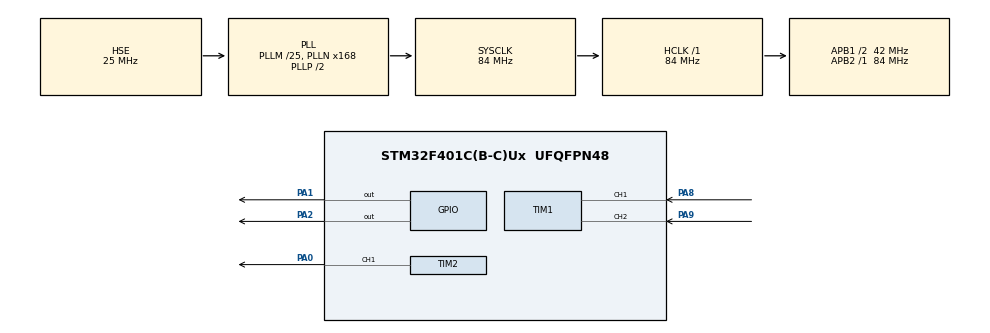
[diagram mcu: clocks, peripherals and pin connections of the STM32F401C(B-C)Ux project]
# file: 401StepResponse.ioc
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Mcu.Family=STM32F4
Mcu.Name=STM32F401C(B-C)Ux
Mcu.Package=UFQFPN48
NVIC.PriorityGroup=NVIC_PRIORITYGROUP_4
NVIC.TIM3_IRQn=true\:0\:0\:false\:false\:true\:true\:true\:true
PA0-WKUP.Signal=S_TIM2_CH1_ETR
PA1.PinState=GPIO_PIN_SET
PA1.Signal=GPIO_Output
PA13.Mode=Serial_Wire
PA13.Signal=SYS_JTMS-SWDIO
PA14.Mode=Serial_Wire
PA14.Signal=SYS_JTCK-SWCLK
PA2.Signal=GPIO_Output
PA8.Signal=S_TIM1_CH1
PA9.Signal=S_TIM1_CH2
PH0\ -\ OSC_IN.Mode=HSE-External-Oscillator
PH0\ -\ OSC_IN.Signal=RCC_OSC_IN
PH1\ -\ OSC_OUT.Mode=HSE-External-Oscillator
PH1\ -\ OSC_OUT.Signal=RCC_OSC_OUT
ProjectManager.HeapSize=0x200
ProjectManager.StackSize=0x400
ProjectManager.TargetToolchain=STM32CubeIDE
RCC.48MHZClocksFreq_Value=42000000
RCC.AHBFreq_Value=84000000
RCC.APB1CLKDivider=RCC_HCLK_DIV2
RCC.APB1Freq_Value=42000000
RCC.APB1TimFreq_Value=84000000
RCC.APB2Freq_Value=84000000
RCC.APB2TimFreq_Value=84000000
RCC.CortexFreq_Value=84000000
RCC.HCLKFreq_Value=84000000
RCC.HSE_VALUE=25000000
RCC.HSI_VALUE=16000000
RCC.LSE_VALUE=32768
RCC.PLLM=25
RCC.PLLN=168
RCC.PLLSourceVirtual=RCC_PLLSOURCE_HSE
RCC.SYSCLKFreq_VALUE=84000000
RCC.SYSCLKSource=RCC_SYSCLKSOURCE_PLLCLK
RCC.VCOOutputFreq_Value=168000000
SH.S_TIM1_CH1.0=TIM1_CH1,Encoder_Interface
SH.S_TIM1_CH2.0=TIM1_CH2,Encoder_Interface
SH.S_TIM2_CH1_ETR.0=TIM2_CH1,PWM Generation1 CH1
TIM2.Channel-PWM\ Generation1\ CH1=TIM_CHANNEL_1
TIM2.Period=1679999
TIM2.Prescaler=0
TIM3.AutoReloadPreload=TIM_AUTORELOAD_PRELOAD_ENABLE
TIM3.Period=840
TIM3.Prescaler=1000
VP_TIM2_VS_ClockSourceINT.Mode=Internal
VP_TIM3_VS_ClockSourceINT.Mode=Internal
board=custom

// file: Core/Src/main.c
/* USER CODE BEGIN Header */
/**
  ******************************************************************************
  * @file           : main.c
  * @brief          : Main program body
  ******************************************************************************
  * @attention
  *
  * Copyright (c) 2022 STMicroelectronics.
  * All rights reserved.
  *
  * This software is licensed under terms that can be found in the LICENSE file
  * in the root directory of this software component.
  * If no LICENSE file comes with this software, it is provided AS-IS.
  *
  ******************************************************************************
  */
/* USER CODE END Header */
#include "main.h"

 TIM_HandleTypeDef htim1;
TIM_HandleTypeDef htim2;
TIM_HandleTypeDef htim3;

void SystemClock_Config(void);
static void MX_GPIO_Init(void);
static void MX_TIM1_Init(void);
static void MX_TIM2_Init(void);
static void MX_TIM3_Init(void);

/* USER CODE BEGIN 0 */

// Position variables
int x;
int setpoint_x = 90;
int error_x;
int sum_error_x = 0;
int delta_x = 0;
int error_x_old = 0;
int Kp = 50;
int Ki = 1;
int Kd = 5;
int devider_x = 50;

// Velocity variables
int v;
int setpoint_v = 1000;
int error_v;
int sum_error_v = 0;
int delta_v = 0;
int error_v_old = 0;
int Kp_v = 0;
int Ki_v = 50;
int Kd_v = 50;
int devider_v = 50;
int x_old = 0;

// Common variables
int devider;
int auto_mode = 1;
int control_x = 1; // 1:control position 0: control speed
int controller_out;

/* USER CODE END 0 */

int main(void)
{

  /* MCU Configuration--------------------------------------------------------*/

  /* Reset of all peripherals, Initializes the Flash interface and the Systick. */
  HAL_Init();

  /* Configure the system clock */
  SystemClock_Config();

  /* Initialize all configured peripherals */
  MX_GPIO_Init();
  MX_TIM1_Init();
  MX_TIM2_Init();
  MX_TIM3_Init();
  /* USER CODE BEGIN 2 */
  HAL_TIM_Encoder_Start(&htim1, TIM_CHANNEL_1);
  HAL_TIM_Encoder_Start(&htim1, TIM_CHANNEL_2);
  HAL_TIM_PWM_Start(&htim2 , TIM_CHANNEL_1);
  HAL_TIM_Base_Start_IT(&htim3);

  /* USER CODE END 2 */

  /* Infinite loop */
  while (1)
  {

    /* USER CODE BEGIN 3 */
	// position
	x = TIM1 -> CNT * 360 / 1024 % 360 ;

  }
  /* USER CODE END 3 */
}

void SystemClock_Config(void)
{
  RCC_OscInitTypeDef RCC_OscInitStruct = {0};
  RCC_ClkInitTypeDef RCC_ClkInitStruct = {0};

  /** Configure the main internal regulator output voltage
  */
  __HAL_RCC_PWR_CLK_ENABLE();
  __HAL_PWR_VOLTAGESCALING_CONFIG(PWR_REGULATOR_VOLTAGE_SCALE2);

  /** Initializes the RCC Oscillators according to the specified parameters
  * in the RCC_OscInitTypeDef structure.
  */
  RCC_OscInitStruct.OscillatorType = RCC_OSCILLATORTYPE_HSE;
  RCC_OscInitStruct.HSEState = RCC_HSE_ON;
  RCC_OscInitStruct.PLL.PLLState = RCC_PLL_ON;
  RCC_OscInitStruct.PLL.PLLSource = RCC_PLLSOURCE_HSE;
  RCC_OscInitStruct.PLL.PLLM = 25;
  RCC_OscInitStruct.PLL.PLLN = 168;
  RCC_OscInitStruct.PLL.PLLP = RCC_PLLP_DIV2;
  RCC_OscInitStruct.PLL.PLLQ = 4;
  if (HAL_RCC_OscConfig(&RCC_OscInitStruct) != HAL_OK)
  {
    Error_Handler();
  }

  /** Initializes the CPU, AHB and APB buses clocks
  */
  RCC_ClkInitStruct.ClockType = RCC_CLOCKTYPE_HCLK|RCC_CLOCKTYPE_SYSCLK
                              |RCC_CLOCKTYPE_PCLK1|RCC_CLOCKTYPE_PCLK2;
  RCC_ClkInitStruct.SYSCLKSource = RCC_SYSCLKSOURCE_PLLCLK;
  RCC_ClkInitStruct.AHBCLKDivider = RCC_SYSCLK_DIV1;
  RCC_ClkInitStruct.APB1CLKDivider = RCC_HCLK_DIV2;
  RCC_ClkInitStruct.APB2CLKDivider = RCC_HCLK_DIV1;

  if (HAL_RCC_ClockConfig(&RCC_ClkInitStruct, FLASH_LATENCY_2) != HAL_OK)
  {
    Error_Handler();
  }
}

static void MX_TIM1_Init(void)
{

  TIM_Encoder_InitTypeDef sConfig = {0};
  TIM_MasterConfigTypeDef sMasterConfig = {0};

  htim1.Instance = TIM1;
  htim1.Init.Prescaler = 0;
  htim1.Init.CounterMode = TIM_COUNTERMODE_UP;
  htim1.Init.Period = 65535;
  htim1.Init.ClockDivision = TIM_CLOCKDIVISION_DIV1;
  htim1.Init.RepetitionCounter = 0;
  htim1.Init.AutoReloadPreload = TIM_AUTORELOAD_PRELOAD_DISABLE;
  sConfig.EncoderMode = TIM_ENCODERMODE_TI1;
  sConfig.IC1Polarity = TIM_ICPOLARITY_RISING;
  sConfig.IC1Selection = TIM_ICSELECTION_DIRECTTI;
  sConfig.IC1Prescaler = TIM_ICPSC_DIV1;
  sConfig.IC1Filter = 0;
  sConfig.IC2Polarity = TIM_ICPOLARITY_RISING;
  sConfig.IC2Selection = TIM_ICSELECTION_DIRECTTI;
  sConfig.IC2Prescaler = TIM_ICPSC_DIV1;
  sConfig.IC2Filter = 0;
  if (HAL_TIM_Encoder_Init(&htim1, &sConfig) != HAL_OK)
  {
    Error_Handler();
  }
  sMasterConfig.MasterOutputTrigger = TIM_TRGO_RESET;
  sMasterConfig.MasterSlaveMode = TIM_MASTERSLAVEMODE_DISABLE;
  if (HAL_TIMEx_MasterConfigSynchronization(&htim1, &sMasterConfig) != HAL_OK)
  {
    Error_Handler();
  }

}

static void MX_TIM2_Init(void)
{

  TIM_ClockConfigTypeDef sClockSourceConfig = {0};
  TIM_MasterConfigTypeDef sMasterConfig = {0};
  TIM_OC_InitTypeDef sConfigOC = {0};

  htim2.Instance = TIM2;
  htim2.Init.Prescaler = 0;
  htim2.Init.CounterMode = TIM_COUNTERMODE_UP;
  htim2.Init.Period = 1679999;
  htim2.Init.ClockDivision = TIM_CLOCKDIVISION_DIV1;
  htim2.Init.AutoReloadPreload = TIM_AUTORELOAD_PRELOAD_DISABLE;
  if (HAL_TIM_Base_Init(&htim2) != HAL_OK)
  {
    Error_Handler();
  }
  sClockSourceConfig.ClockSource = TIM_CLOCKSOURCE_INTERNAL;
  if (HAL_TIM_ConfigClockSource(&htim2, &sClockSourceConfig) != HAL_OK)
  {
    Error_Handler();
  }
  if (HAL_TIM_PWM_Init(&htim2) != HAL_OK)
  {
    Error_Handler();
  }
  sMasterConfig.MasterOutputTrigger = TIM_TRGO_RESET;
  sMasterConfig.MasterSlaveMode = TIM_MASTERSLAVEMODE_DISABLE;
  if (HAL_TIMEx_MasterConfigSynchronization(&htim2, &sMasterConfig) != HAL_OK)
  {
    Error_Handler();
  }
  sConfigOC.OCMode = TIM_OCMODE_PWM1;
  sConfigOC.Pulse = 0;
  sConfigOC.OCPolarity = TIM_OCPOLARITY_HIGH;
  sConfigOC.OCFastMode = TIM_OCFAST_DISABLE;
  if (HAL_TIM_PWM_ConfigChannel(&htim2, &sConfigOC, TIM_CHANNEL_1) != HAL_OK)
  {
    Error_Handler();
  }
  HAL_TIM_MspPostInit(&htim2);

}

static void MX_TIM3_Init(void)
{

  TIM_ClockConfigTypeDef sClockSourceConfig = {0};
  TIM_MasterConfigTypeDef sMasterConfig = {0};

  htim3.Instance = TIM3;
  htim3.Init.Prescaler = 1000;
  htim3.Init.CounterMode = TIM_COUNTERMODE_UP;
  htim3.Init.Period = 840;
  htim3.Init.ClockDivision = TIM_CLOCKDIVISION_DIV1;
  htim3.Init.AutoReloadPreload = TIM_AUTORELOAD_PRELOAD_ENABLE;
  if (HAL_TIM_Base_Init(&htim3) != HAL_OK)
  {
    Error_Handler();
  }
  sClockSourceConfig.ClockSource = TIM_CLOCKSOURCE_INTERNAL;
  if (HAL_TIM_ConfigClockSource(&htim3, &sClockSourceConfig) != HAL_OK)
  {
    Error_Handler();
  }
  sMasterConfig.MasterOutputTrigger = TIM_TRGO_RESET;
  sMasterConfig.MasterSlaveMode = TIM_MASTERSLAVEMODE_DISABLE;
  if (HAL_TIMEx_MasterConfigSynchronization(&htim3, &sMasterConfig) != HAL_OK)
  {
    Error_Handler();
  }

}

static void MX_GPIO_Init(void)
{
  GPIO_InitTypeDef GPIO_InitStruct = {0};

  /* GPIO Ports Clock Enable */
  __HAL_RCC_GPIOH_CLK_ENABLE();
  __HAL_RCC_GPIOA_CLK_ENABLE();

  /*Configure GPIO pin Output Level */
  HAL_GPIO_WritePin(GPIOA, GPIO_PIN_1, GPIO_PIN_SET);

  /*Configure GPIO pin Output Level */
  HAL_GPIO_WritePin(GPIOA, GPIO_PIN_2, GPIO_PIN_RESET);

  /*Configure GPIO pins : PA1 PA2 */
  GPIO_InitStruct.Pin = GPIO_PIN_1|GPIO_PIN_2;
  GPIO_InitStruct.Mode = GPIO_MODE_OUTPUT_PP;
  GPIO_InitStruct.Pull = GPIO_NOPULL;
  GPIO_InitStruct.Speed = GPIO_SPEED_FREQ_LOW;
  HAL_GPIO_Init(GPIOA, &GPIO_InitStruct);

}

/* USER CODE BEGIN 4 */
void HAL_TIM_PeriodElapsedCallback(TIM_HandleTypeDef* htim)
{
	// velocity
	v = (x - x_old);
//	if (v < 0)
//	{
//		v += 360;
//	}
	v *= 100;
	x_old = x;
	if (auto_mode == 1 && control_x == 1)
	{
		// map encoder sensor to -180 to 180
		if (x > 180)
		{
			x = x - 360;
		}
		error_x = (x - setpoint_x) * 1000 / 180;
		// error_x = -error_x;
		sum_error_x += error_x;
		// Portion term
		controller_out = Kp * error_x; //420000 is 25% 1680000 for 6v in 24v
		// Integral term
		// WindUp reset
		if (sum_error_x * error_x < 0)
			sum_error_x = 0;
		controller_out += Ki * sum_error_x;
		// differential
		delta_x = error_x - error_x_old;
		error_x_old = error_x;
		controller_out += Kd * delta_x;
		devider = devider_x;
	}
	if (auto_mode == 1 && control_x == 0)
	{
		error_v = (v - setpoint_v) / 180;
		// error_v = -error_v;
		sum_error_v += error_v;
		// Portion term
		controller_out = Kp_v * error_v; //420000 is 25% 1680000 for 6v in 24v
		// Integral term
		// WindUp reset
		if (sum_error_v * error_v < 0)
			sum_error_v = 0;
		controller_out += Ki_v * sum_error_v;
		// differential
		delta_v = error_v - error_v_old;
		error_v_old = error_v;
		controller_out += Kd_v * delta_v;
		devider = devider_v;
	}

	// set output value
	if (controller_out > 0)
	{
		if (controller_out > 100 * devider)
			controller_out = 100 * devider;
		HAL_GPIO_WritePin(GPIOA, GPIO_PIN_1, 0);
		HAL_GPIO_WritePin(GPIOA, GPIO_PIN_2, 1);
		TIM2->CCR1 = (3864 * controller_out / devider + 33600);
	}
	else if(controller_out < 0)
	{
		if (controller_out > 100 * devider)
			controller_out = 100 * devider;
		HAL_GPIO_WritePin(GPIOA, GPIO_PIN_1, 1);
		HAL_GPIO_WritePin(GPIOA, GPIO_PIN_2, 0);
		controller_out = -controller_out;
		TIM2->CCR1 = (3864 * controller_out / devider + 33600);
	}
	else
	{
		HAL_GPIO_WritePin(GPIOA, GPIO_PIN_1, 1);
		HAL_GPIO_WritePin(GPIOA, GPIO_PIN_2, 1);
		TIM2->CCR1 = 0;
	}

}
/* USER CODE END 4 */

void Error_Handler(void)
{
  __disable_irq();
  while (1)
  {
  }
}
